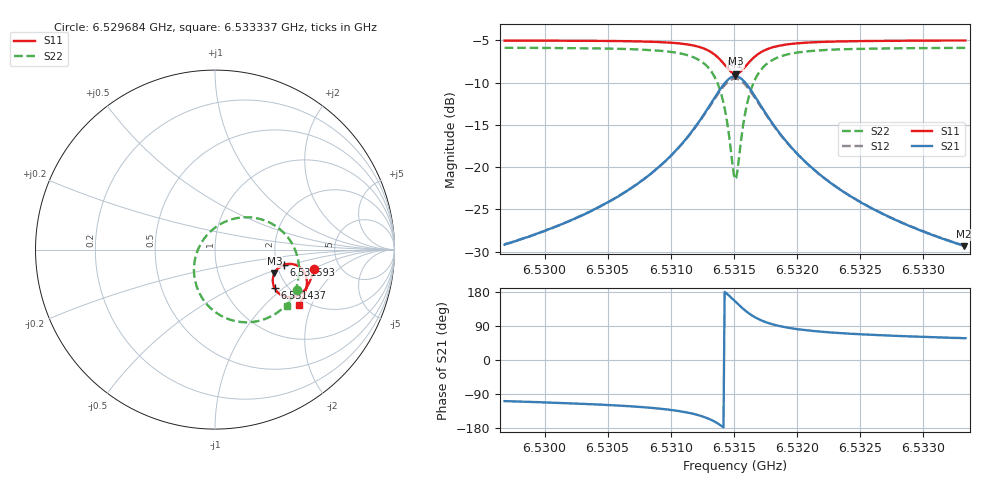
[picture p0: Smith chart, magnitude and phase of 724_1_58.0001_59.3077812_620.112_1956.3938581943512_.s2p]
#  HZ  S  RI  R  50.00
! Rohde & Schwarz Vector Network Analyzer
! Rohde-Schwarz,ZNB20-2Port,1311601062101988,3.16
! Created: UTC 3/21/2024, 1:22:48 AM
! freq[Hz]  re:S11  im:S11  re:S21  im:S21  re:S12  im:S12  re:S22  im:S22
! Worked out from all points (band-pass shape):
!   401 points, 6.529684 GHz to 6.533337 GHz, reference 50 ohm
!   highest |S21| = -9.25 dB at 6.53151 GHz (marker M1); lowest = -29.3 dB at 6.533328 GHz (marker M2)
!   |S21| within 3 dB of the highest: 6.531329 GHz to 6.531695 GHz (365.2 kHz wide, 0.00559 % of centre)
!   lowest |S11| = -9.0 dB at 6.53152 GHz (marker M3), VSWR 2.11, Z = 93.8 - j28.5 ohm
!   |S11| at or under -10 dB: nowhere
!   |S22| runs from -21.4 to -5.9 dB; largest |S21 - S12| = 0.014
!   S11 on the Smith chart (normalised r, x): 6.529684 GHz: 3.21, -0.99; 6.531437 GHz: 1.71, -0.87; 6.531593 GHz: 2.19, -0.44; 6.533337 GHz: 1.81, -1.64
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6.5296836e9  0.55 -0.1058  -0.011 -0.033  -0.0118 -0.0329  0.456 -0.2237
6.5302955e9  0.5361 -0.1574  -0.0223 -0.0466  -0.0235 -0.0462  0.4193 -0.2818
6.5306244e9  0.5231 -0.1891  -0.0361 -0.06  -0.0377 -0.059  0.3833 -0.3214
6.5309075e9  0.5031 -0.2213  -0.062 -0.0788  -0.0643 -0.0768  0.3252 -0.3649
6.5311268e9  0.4703 -0.2506  -0.1105 -0.0986  -0.1135 -0.0945  0.2283 -0.4003
6.531282e9  0.419 -0.2659  -0.1905 -0.0994  -0.1922 -0.0911  0.0845 -0.3906
6.5313734e9  0.3682 -0.2528  -0.2681 -0.0602  -0.2652 -0.0486  -0.0417 -0.3089
6.5314099e9  0.3462 -0.235  -0.3003 -0.0232  -0.2938 -0.0116  -0.0878 -0.2406
6.5314373e9  0.3323 -0.2149  -0.3189 0.0152  -0.3096 0.0257  -0.1109 -0.1732
6.5314921e9  0.3227 -0.161  -0.3239 0.1121  -0.3107 0.117  -0.1004 -0.0137
6.5315104e9  0.327 -0.1419  -0.3129 0.1451  -0.2993 0.1478  -0.0759 0.038
6.5315195e9  0.3307 -0.1328  -0.3048 0.1609  -0.2913 0.1623  -0.06 0.062
6.5315378e9  0.3408 -0.116  -0.2845 0.1892  -0.2718 0.1883  -0.0217 0.1041
6.5315926e9  0.3847 -0.0842  -0.204 0.2411  -0.1958 0.2365  0.1191 0.175
6.5316565e9  0.4354 -0.0815  -0.1153 0.245  -0.1114 0.2405  0.2671 0.1656
6.5317479e9  0.4805 -0.1056  -0.0392 0.2079  -0.0373 0.2053  0.3901 0.0865
6.5318849e9  0.5061 -0.1456  0.00517 0.1516  0.00646 0.1507  0.4545 -0.0245
6.5321224e9  0.5119 -0.1932  0.0226 0.0961  0.0236 0.0957  0.4677 -0.137
6.5324147e9  0.505 -0.2311  0.0239 0.0637  0.0247 0.0634  0.4532 -0.2089
6.5327344e9  0.4935 -0.2618  0.0218 0.0456  0.0227 0.0453  0.434 -0.2565
6.5333281e9  0.4692 -0.3081  0.0182 0.0288  0.0189 0.0286  0.3991 -0.313
6.5333372e9  0.4689 -0.3087  0.0183 0.0288  0.019 0.0283  0.3986 -0.3138
